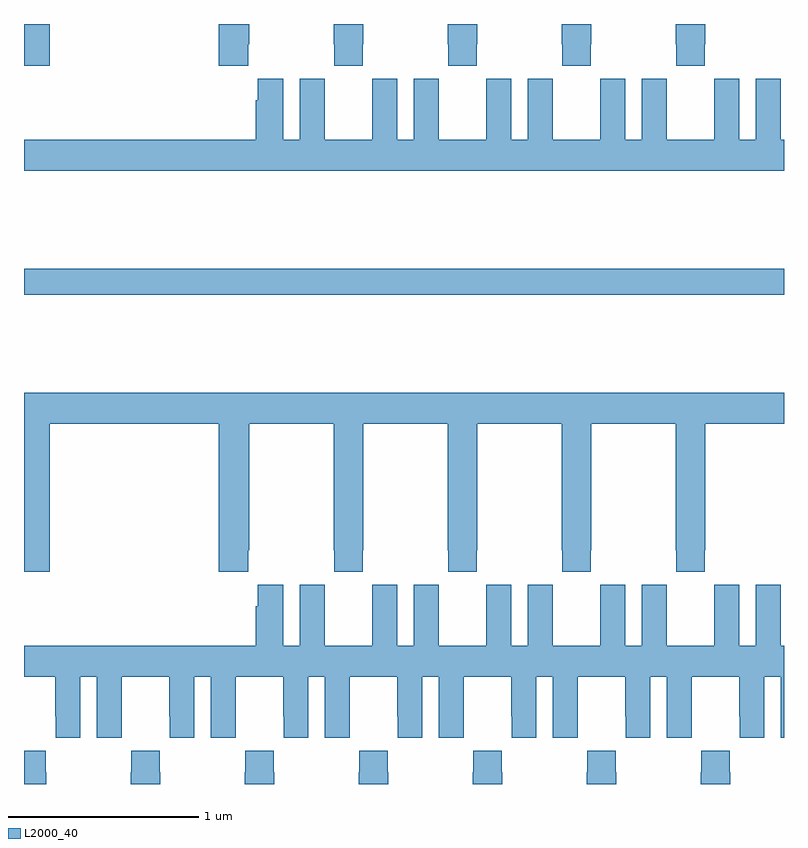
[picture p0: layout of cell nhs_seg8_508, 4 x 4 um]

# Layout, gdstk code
import gdstk
lib = gdstk.Library(unit=1e-6, precision=1e-09)
def R(c, l, rs):  # rectangles x0, y0, x1, y1
    for r in rs: c.add(gdstk.rectangle(r[:2], r[2:], *l))
def P(c, l, *ps):  # polygons
    for p in ps: c.add(gdstk.Polygon(p, *l))
L2000_40 = (2000, 40)

nhs_seg8_508 = lib.new_cell('nhs_seg8_508')
R(nhs_seg8_508, L2000_40, [(143,1154.476,147,1154.612), (143,1155.681,143.135,1155.9)])
P(nhs_seg8_508, L2000_40, [(144.026,1155.681),(144.179,1155.681),(144.179,1155.793),(144.186,1155.793),(144.186,1155.9),(144.026,1155.9)],
  [(146.583,1155.793),(146.586,1155.793),(146.586,1155.9),(146.431,1155.9),(146.431,1155.793),(146.433,1155.793),(146.433,1155.681),(146.583,1155.681)],
  [(145.983,1155.793),(145.986,1155.793),(145.986,1155.9),(145.831,1155.9),(145.831,1155.793),(145.833,1155.793),(145.833,1155.681),(145.983,1155.681)],
  [(145.383,1155.793),(145.386,1155.793),(145.386,1155.9),(145.231,1155.9),(145.231,1155.793),(145.233,1155.793),(145.233,1155.681),(145.383,1155.681)],
  [(144.783,1155.793),(144.786,1155.793),(144.786,1155.9),(144.631,1155.9),(144.631,1155.793),(144.633,1155.793),(144.633,1155.681),(144.783,1155.681)],
  [(147,1155.292),(146.983,1155.292),(146.983,1155.5),(146.982,1155.5),(146.982,1155.613),(146.852,1155.613),(146.852,1155.292),(146.764,1155.292),(146.764,1155.613),(146.634,1155.613),(146.634,1155.5),(146.633,1155.5),(146.633,1155.292),(146.383,1155.292),(146.383,1155.5),(146.382,1155.5),(146.382,1155.613),(146.252,1155.613),(146.252,1155.292),(146.164,1155.292),(146.164,1155.613),(146.034,1155.613),(146.034,1155.5),(146.033,1155.5),(146.033,1155.292),(145.783,1155.292),(145.783,1155.5),(145.782,1155.5),(145.782,1155.613),(145.652,1155.613),(145.652,1155.292),(145.564,1155.292),(145.564,1155.613),(145.434,1155.613),(145.434,1155.5),(145.433,1155.5),(145.433,1155.292),(145.183,1155.292),(145.183,1155.5),(145.182,1155.5),(145.182,1155.613),(145.052,1155.613),(145.052,1155.292),(144.964,1155.292),(144.964,1155.613),(144.834,1155.613),(144.834,1155.5),(144.833,1155.5),(144.833,1155.292),(144.583,1155.292),(144.583,1155.5),(144.582,1155.5),(144.582,1155.613),(144.452,1155.613),(144.452,1155.292),(144.364,1155.292),(144.364,1155.613),(144.23,1155.613),(144.23,1155.5),(144.221,1155.5),(144.221,1155.292),(143,1155.292),(143,1155.128),(147,1155.128)],
  [(143.135,1153.796),(144.026,1153.796),(144.026,1153.017),(144.179,1153.017),(144.179,1153.129),(144.186,1153.129),(144.186,1153.796),(144.631,1153.796),(144.631,1153.129),(144.633,1153.129),(144.633,1153.017),(144.783,1153.017),(144.783,1153.129),(144.786,1153.129),(144.786,1153.796),(145.231,1153.796),(145.231,1153.129),(145.233,1153.129),(145.233,1153.017),(145.383,1153.017),(145.383,1153.129),(145.386,1153.129),(145.386,1153.796),(145.831,1153.796),(145.831,1153.129),(145.833,1153.129),(145.833,1153.017),(145.983,1153.017),(145.983,1153.129),(145.986,1153.129),(145.986,1153.796),(146.431,1153.796),(146.431,1153.129),(146.433,1153.129),(146.433,1153.017),(146.583,1153.017),(146.583,1153.129),(146.586,1153.129),(146.586,1153.796),(147,1153.796),(147,1153.96),(143,1153.96),(143,1153.017),(143.135,1153.017)],
  [(146.165,1152.256),(146.166,1152.256),(146.166,1152.144),(146.296,1152.144),(146.296,1152.464),(146.384,1152.464),(146.384,1152.144),(146.514,1152.144),(146.514,1152.256),(146.515,1152.256),(146.515,1152.464),(146.765,1152.464),(146.765,1152.256),(146.766,1152.256),(146.766,1152.144),(146.896,1152.144),(146.896,1152.464),(146.984,1152.464),(146.984,1152.144),(147,1152.144),(147,1152.628),(146.983,1152.628),(146.983,1152.836),(146.982,1152.836),(146.982,1152.949),(146.852,1152.949),(146.852,1152.628),(146.764,1152.628),(146.764,1152.949),(146.634,1152.949),(146.634,1152.836),(146.633,1152.836),(146.633,1152.628),(146.383,1152.628),(146.383,1152.836),(146.382,1152.836),(146.382,1152.949),(146.252,1152.949),(146.252,1152.628),(146.164,1152.628),(146.164,1152.949),(146.034,1152.949),(146.034,1152.836),(146.033,1152.836),(146.033,1152.628),(145.783,1152.628),(145.783,1152.836),(145.782,1152.836),(145.782,1152.949),(145.652,1152.949),(145.652,1152.628),(145.564,1152.628),(145.564,1152.949),(145.434,1152.949),(145.434,1152.836),(145.433,1152.836),(145.433,1152.628),(145.183,1152.628),(145.183,1152.836),(145.182,1152.836),(145.182,1152.949),(145.052,1152.949),(145.052,1152.628),(144.964,1152.628),(144.964,1152.949),(144.834,1152.949),(144.834,1152.836),(144.833,1152.836),(144.833,1152.628),(144.583,1152.628),(144.583,1152.836),(144.582,1152.836),(144.582,1152.949),(144.452,1152.949),(144.452,1152.628),(144.364,1152.628),(144.364,1152.949),(144.23,1152.949),(144.23,1152.836),(144.221,1152.836),(144.221,1152.628),(143,1152.628),(143,1152.464),(143.165,1152.464),(143.165,1152.256),(143.166,1152.256),(143.166,1152.144),(143.296,1152.144),(143.296,1152.464),(143.384,1152.464),(143.384,1152.144),(143.514,1152.144),(143.514,1152.256),(143.515,1152.256),(143.515,1152.464),(143.765,1152.464),(143.765,1152.256),(143.766,1152.256),(143.766,1152.144),(143.896,1152.144),(143.896,1152.464),(143.984,1152.464),(143.984,1152.144),(144.114,1152.144),(144.114,1152.256),(144.115,1152.256),(144.115,1152.464),(144.365,1152.464),(144.365,1152.256),(144.366,1152.256),(144.366,1152.144),(144.496,1152.144),(144.496,1152.464),(144.584,1152.464),(144.584,1152.144),(144.714,1152.144),(144.714,1152.256),(144.715,1152.256),(144.715,1152.464),(144.965,1152.464),(144.965,1152.256),(144.966,1152.256),(144.966,1152.144),(145.096,1152.144),(145.096,1152.464),(145.184,1152.464),(145.184,1152.144),(145.314,1152.144),(145.314,1152.256),(145.315,1152.256),(145.315,1152.464),(145.565,1152.464),(145.565,1152.256),(145.566,1152.256),(145.566,1152.144),(145.696,1152.144),(145.696,1152.464),(145.784,1152.464),(145.784,1152.144),(145.914,1152.144),(145.914,1152.256),(145.915,1152.256),(145.915,1152.464),(146.165,1152.464)],
  [(143.118,1151.963),(143.115,1151.963),(143.115,1152.076),(143,1152.076),(143,1151.9),(143.118,1151.9)],
  [(143.718,1151.963),(143.715,1151.963),(143.715,1152.076),(143.565,1152.076),(143.565,1151.963),(143.563,1151.963),(143.563,1151.9),(143.718,1151.9)],
  [(144.165,1151.963),(144.163,1151.963),(144.163,1151.9),(144.318,1151.9),(144.318,1151.963),(144.315,1151.963),(144.315,1152.076),(144.165,1152.076)],
  [(144.918,1151.963),(144.915,1151.963),(144.915,1152.076),(144.765,1152.076),(144.765,1151.963),(144.763,1151.963),(144.763,1151.9),(144.918,1151.9)],
  [(145.518,1151.963),(145.515,1151.963),(145.515,1152.076),(145.365,1152.076),(145.365,1151.963),(145.363,1151.963),(145.363,1151.9),(145.518,1151.9)],
  [(146.118,1151.963),(146.115,1151.963),(146.115,1152.076),(145.965,1152.076),(145.965,1151.963),(145.963,1151.963),(145.963,1151.9),(146.118,1151.9)],
  [(146.718,1151.963),(146.715,1151.963),(146.715,1152.076),(146.565,1152.076),(146.565,1151.963),(146.563,1151.963),(146.563,1151.9),(146.718,1151.9)])

lib.write_gds('nhs_seg8_508.gds')
